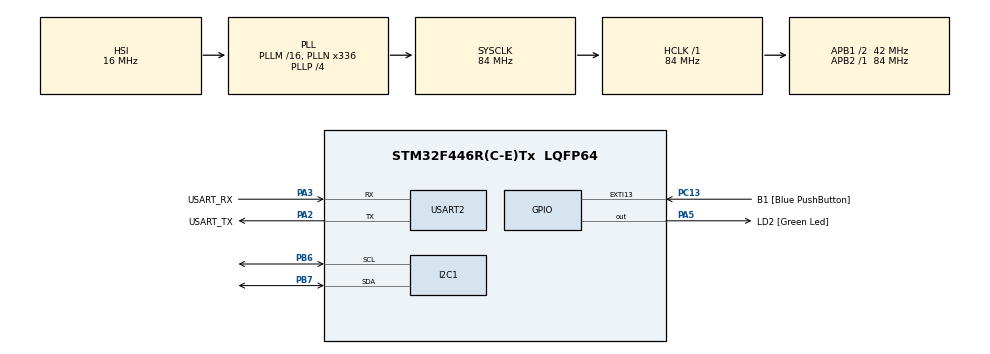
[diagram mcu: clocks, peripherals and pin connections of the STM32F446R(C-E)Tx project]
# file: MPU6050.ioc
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I2C1.I2C_Mode=I2C_Fast
Mcu.Family=STM32F4
Mcu.Name=STM32F446R(C-E)Tx
Mcu.Package=LQFP64
NVIC.EXTI15_10_IRQn=true\:0\:0\:false\:false\:true\:true\:true
NVIC.PriorityGroup=NVIC_PRIORITYGROUP_0
PA13.GPIO_Label=TMS
PA13.Mode=Serial_Wire
PA13.Signal=SYS_JTMS-SWDIO
PA14.GPIO_Label=TCK
PA14.Mode=Serial_Wire
PA14.Signal=SYS_JTCK-SWCLK
PA2.GPIO_Label=USART_TX
PA2.Mode=Asynchronous
PA2.Signal=USART2_TX
PA3.GPIO_Label=USART_RX
PA3.Mode=Asynchronous
PA3.Signal=USART2_RX
PA5.GPIO_Label=LD2 [Green Led]
PA5.Signal=GPIO_Output
PB3.GPIO_Label=SWO
PB3.Signal=SYS_JTDO-SWO
PB6.Mode=I2C
PB6.Signal=I2C1_SCL
PB7.Mode=I2C
PB7.Signal=I2C1_SDA
PC13.GPIO_Label=B1 [Blue PushButton]
PC13.GPIO_ModeDefaultEXTI=GPIO_MODE_IT_FALLING
PC13.Signal=GPXTI13
PC14-OSC32_IN.Mode=LSE-External-Oscillator
PC14-OSC32_IN.Signal=RCC_OSC32_IN
PC15-OSC32_OUT.Mode=LSE-External-Oscillator
PC15-OSC32_OUT.Signal=RCC_OSC32_OUT
PH0-OSC_IN.Mode=HSE-External-Oscillator
PH0-OSC_IN.Signal=RCC_OSC_IN
PH1-OSC_OUT.Mode=HSE-External-Oscillator
PH1-OSC_OUT.Signal=RCC_OSC_OUT
ProjectManager.HeapSize=0x200
ProjectManager.StackSize=0x400
ProjectManager.TargetToolchain=STM32CubeIDE
RCC.48MHZClocksFreq_Value=84000000
RCC.AHBFreq_Value=84000000
RCC.APB1CLKDivider=RCC_HCLK_DIV2
RCC.APB1Freq_Value=42000000
RCC.APB1TimFreq_Value=84000000
RCC.APB2Freq_Value=84000000
RCC.APB2TimFreq_Value=84000000
RCC.CortexFreq_Value=84000000
RCC.FLatency-AdvancedSettings=FLASH_LATENCY_2
RCC.HCLKFreq_Value=84000000
RCC.HSE_VALUE=8000000
RCC.HSI_VALUE=16000000
RCC.PLLN=336
RCC.PLLP=RCC_PLLP_DIV4
RCC.SYSCLKFreq_VALUE=84000000
RCC.SYSCLKSource=RCC_SYSCLKSOURCE_PLLCLK
RCC.USBFreq_Value=168000000
RCC.VCOOutputFreq_Value=336000000
USART2.VirtualMode=VM_ASYNC
board=NUCLEO-F446RE

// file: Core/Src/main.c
/* USER CODE BEGIN Header */
/**
  ******************************************************************************
  * @file           : main.c
  * @brief          : Main program body
  ******************************************************************************
  * @attention
  *
  * <h2><center>&copy; Copyright (c) 2021 STMicroelectronics.
  * All rights reserved.</center></h2>
  *
  * This software component is licensed by ST under BSD 3-Clause license,
  * the "License"; You may not use this file except in compliance with the
  * License. You may obtain a copy of the License at:
  *                        opensource.org/licenses/BSD-3-Clause
  *
  ******************************************************************************
  */
/* USER CODE END Header */
#include "main.h"

/* USER CODE BEGIN Includes */
#include "mpu6050.h"

/* USER CODE END Includes */

/* USER CODE BEGIN PD */
#ifdef __GNUC__
  #define PUTCHAR_PROTOTYPE int __io_putchar(int ch)
#else#define PUTCHAR_PROTOTYPE int fputc(int ch, FILE *f)
#endif /* __GNUC__ */
/* USER CODE END PD */

I2C_HandleTypeDef hi2c1;

UART_HandleTypeDef huart2;

/* USER CODE BEGIN PV */
MPU6050_HandleTypeDef MPU6050;

/* USER CODE END PV */

void SystemClock_Config(void);
static void MX_GPIO_Init(void);
static void MX_USART2_UART_Init(void);
static void MX_I2C1_Init(void);

int main(void)
{

  /* MCU Configuration--------------------------------------------------------*/

  /* Reset of all peripherals, Initializes the Flash interface and the Systick. */
  HAL_Init();

  /* Configure the system clock */
  SystemClock_Config();

  /* USER CODE BEGIN SysInit */
  SysTick_Config(SystemCoreClock / 1000);

  /* USER CODE END SysInit */

  /* Initialize all configured peripherals */
  MX_GPIO_Init();
  MX_USART2_UART_Init();
  MX_I2C1_Init();
  /* USER CODE BEGIN 2 */
  if (mpu6050_Init_Correction(&hi2c1, &MPU6050) == 1)
  {
    Error_Handler();
  }

  /* USER CODE END 2 */

  /* Infinite loop */
  while (1)
  {

    /* USER CODE BEGIN 3 */

    // Accelerometer
    //mpu6050_AccelRead_Angle(&hi2c1, &MPU6050);

    // Gyroscope (Angular Velocity Meter)
    //mpu6050_GyroRead_AngVel(&hi2c1, &MPU6050);

    KalmanFilter_getAngle(&hi2c1, &MPU6050);
    HAL_Delay (10);

  }
  /* USER CODE END 3 */
}

void SystemClock_Config(void)
{
  RCC_OscInitTypeDef RCC_OscInitStruct = {0};
  RCC_ClkInitTypeDef RCC_ClkInitStruct = {0};

  /** Configure the main internal regulator output voltage
  */
  __HAL_RCC_PWR_CLK_ENABLE();
  __HAL_PWR_VOLTAGESCALING_CONFIG(PWR_REGULATOR_VOLTAGE_SCALE3);
  /** Initializes the RCC Oscillators according to the specified parameters
  * in the RCC_OscInitTypeDef structure.
  */
  RCC_OscInitStruct.OscillatorType = RCC_OSCILLATORTYPE_HSI;
  RCC_OscInitStruct.HSIState = RCC_HSI_ON;
  RCC_OscInitStruct.HSICalibrationValue = RCC_HSICALIBRATION_DEFAULT;
  RCC_OscInitStruct.PLL.PLLState = RCC_PLL_ON;
  RCC_OscInitStruct.PLL.PLLSource = RCC_PLLSOURCE_HSI;
  RCC_OscInitStruct.PLL.PLLM = 16;
  RCC_OscInitStruct.PLL.PLLN = 336;
  RCC_OscInitStruct.PLL.PLLP = RCC_PLLP_DIV4;
  RCC_OscInitStruct.PLL.PLLQ = 2;
  RCC_OscInitStruct.PLL.PLLR = 2;
  if (HAL_RCC_OscConfig(&RCC_OscInitStruct) != HAL_OK)
  {
    Error_Handler();
  }
  /** Initializes the CPU, AHB and APB buses clocks
  */
  RCC_ClkInitStruct.ClockType = RCC_CLOCKTYPE_HCLK|RCC_CLOCKTYPE_SYSCLK
                              |RCC_CLOCKTYPE_PCLK1|RCC_CLOCKTYPE_PCLK2;
  RCC_ClkInitStruct.SYSCLKSource = RCC_SYSCLKSOURCE_PLLCLK;
  RCC_ClkInitStruct.AHBCLKDivider = RCC_SYSCLK_DIV1;
  RCC_ClkInitStruct.APB1CLKDivider = RCC_HCLK_DIV2;
  RCC_ClkInitStruct.APB2CLKDivider = RCC_HCLK_DIV1;

  if (HAL_RCC_ClockConfig(&RCC_ClkInitStruct, FLASH_LATENCY_2) != HAL_OK)
  {
    Error_Handler();
  }
}

static void MX_I2C1_Init(void)
{

  hi2c1.Instance = I2C1;
  hi2c1.Init.ClockSpeed = 400000;
  hi2c1.Init.DutyCycle = I2C_DUTYCYCLE_2;
  hi2c1.Init.OwnAddress1 = 0;
  hi2c1.Init.AddressingMode = I2C_ADDRESSINGMODE_7BIT;
  hi2c1.Init.DualAddressMode = I2C_DUALADDRESS_DISABLE;
  hi2c1.Init.OwnAddress2 = 0;
  hi2c1.Init.GeneralCallMode = I2C_GENERALCALL_DISABLE;
  hi2c1.Init.NoStretchMode = I2C_NOSTRETCH_DISABLE;
  if (HAL_I2C_Init(&hi2c1) != HAL_OK)
  {
    Error_Handler();
  }

}

static void MX_USART2_UART_Init(void)
{

  huart2.Instance = USART2;
  huart2.Init.BaudRate = 115200;
  huart2.Init.WordLength = UART_WORDLENGTH_8B;
  huart2.Init.StopBits = UART_STOPBITS_1;
  huart2.Init.Parity = UART_PARITY_NONE;
  huart2.Init.Mode = UART_MODE_TX_RX;
  huart2.Init.HwFlowCtl = UART_HWCONTROL_NONE;
  huart2.Init.OverSampling = UART_OVERSAMPLING_16;
  if (HAL_UART_Init(&huart2) != HAL_OK)
  {
    Error_Handler();
  }

}

static void MX_GPIO_Init(void)
{
  GPIO_InitTypeDef GPIO_InitStruct = {0};

  /* GPIO Ports Clock Enable */
  __HAL_RCC_GPIOC_CLK_ENABLE();
  __HAL_RCC_GPIOH_CLK_ENABLE();
  __HAL_RCC_GPIOA_CLK_ENABLE();
  __HAL_RCC_GPIOB_CLK_ENABLE();

  /*Configure GPIO pin Output Level */
  HAL_GPIO_WritePin(LD2_GPIO_Port, LD2_Pin, GPIO_PIN_RESET);

  /*Configure GPIO pin : B1_Pin */
  GPIO_InitStruct.Pin = B1_Pin;
  GPIO_InitStruct.Mode = GPIO_MODE_IT_FALLING;
  GPIO_InitStruct.Pull = GPIO_NOPULL;
  HAL_GPIO_Init(B1_GPIO_Port, &GPIO_InitStruct);

  /*Configure GPIO pin : LD2_Pin */
  GPIO_InitStruct.Pin = LD2_Pin;
  GPIO_InitStruct.Mode = GPIO_MODE_OUTPUT_PP;
  GPIO_InitStruct.Pull = GPIO_NOPULL;
  GPIO_InitStruct.Speed = GPIO_SPEED_FREQ_LOW;
  HAL_GPIO_Init(LD2_GPIO_Port, &GPIO_InitStruct);

  /* EXTI interrupt init*/
  HAL_NVIC_SetPriority(EXTI15_10_IRQn, 0, 0);
  HAL_NVIC_EnableIRQ(EXTI15_10_IRQn);

}

/* USER CODE BEGIN 4 */
void HAL_GPIO_EXTI_Callback(uint16_t GPIO_Pin)
{
  /* Prevent unused argument(s) compilation warning */
  UNUSED(GPIO_Pin);
  /* NOTE: This function Should not be modified, when the callback is needed,
           the HAL_GPIO_EXTI_Callback could be implemented in the user file
   */

  if(GPIO_Pin == B1_Pin){

  }
}

PUTCHAR_PROTOTYPE
{
HAL_UART_Transmit(&huart2, (uint8_t *)&ch, 1, 0xFFFF);
return ch;
}

/* USER CODE END 4 */

void Error_Handler(void)
{
  __disable_irq();
  while (1)
  {
  }
}

/************************ (C) COPYRIGHT STMicroelectronics *****END OF FILE****/
